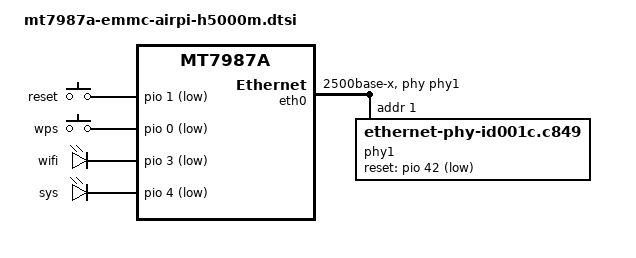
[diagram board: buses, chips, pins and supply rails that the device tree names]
// SPDX-License-Identifier: (GPL-2.0 OR MIT)

/dts-v1/;
#include "mt7987a-emmc-board-common.dtsi"

/ {
	config {
		blink_led = "wifi";
		system_led = "sys";
	};

	gpio-keys {
		compatible = "gpio-keys";

		reset {
			label = "reset";
			linux,code = <KEY_RESTART>;
			gpios = <&pio 1 GPIO_ACTIVE_LOW>;
			debounce-interval = <10>;
		};

		wps {
			label = "wps";
			linux,code = <KEY_WPS_BUTTON>;
			gpios = <&pio 0 GPIO_ACTIVE_LOW>;
			debounce-interval = <10>;
		};
	};

	leds {
		compatible = "gpio-leds";
		led0 {
			label = "wifi";
			gpios = <&pio 3 GPIO_ACTIVE_LOW>;
			default-state = "off";
		};

		led1 {
			label = "sys";
			gpios = <&pio 4 GPIO_ACTIVE_LOW>;
			default-state = "off";
		};
	};
};

&eth0 {
	status = "okay";
	pinctrl-names = "default";
	pinctrl-0 = <&mdio0_pins>;
	phy-mode = "2500base-x";
	phy-handle = <&phy1>;

	phy1: ethernet-phy@1 {
		compatible = "ethernet-phy-id001c.c849", "ethernet-phy-ieee802.3-c45";
		reg = <1>;
		phy-mode = "2500base-x";
		reset-gpios = <&pio 42 GPIO_ACTIVE_LOW>;
		reset-assert-us = <200000>;
		reset-deassert-us = <200000>;
	};
};
